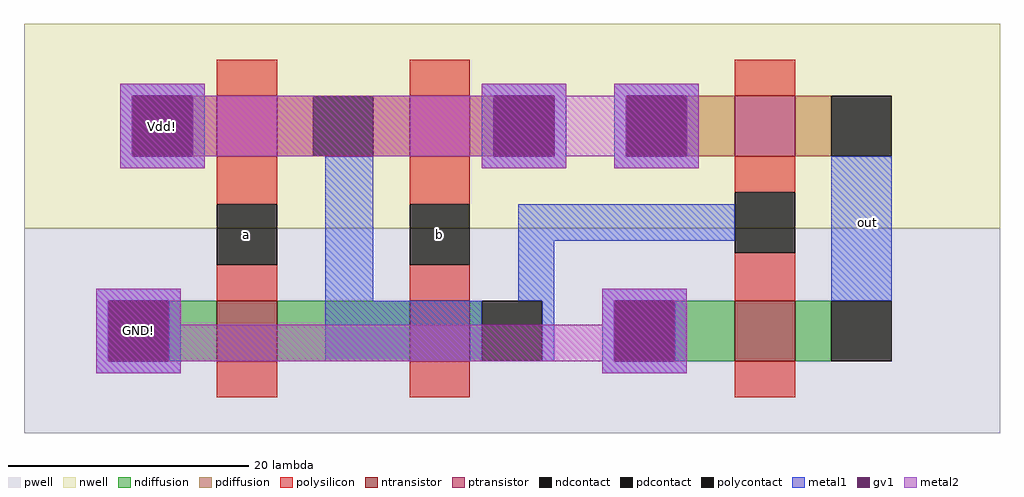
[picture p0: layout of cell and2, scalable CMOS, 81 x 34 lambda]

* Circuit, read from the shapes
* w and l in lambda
.subckt and2 GND! Vdd! a b out
M1 n1 a GND! VSUBS nfet w=5 l=5
M2 n2 b n1 VSUBS nfet w=5 l=5
M3 out n2 GND! VSUBS nfet w=5 l=5
M4 n2 a Vdd! n3 pfet w=5 l=5
M5 Vdd! b n2 n3 pfet w=5 l=5
M6 out n2 Vdd! n3 pfet w=5 l=5
.ends

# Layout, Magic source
magic
tech scmos
<< nwell >>
rect -21 -2 60 15
<< pwell >>
rect -21 -19 60 -2
<< ntransistor >>
rect -5 -13 0 -8
rect 11 -13 16 -8
rect 38 -13 43 -8
<< ptransistor >>
rect -5 4 0 9
rect 11 4 16 9
rect 38 4 43 9
<< ndiffusion >>
rect -9 -13 -5 -8
rect 0 -13 11 -8
rect 16 -13 17 -8
rect 33 -13 38 -8
rect 43 -13 46 -8
<< pdiffusion >>
rect -7 4 -5 9
rect 0 4 3 9
rect 8 4 11 9
rect 16 4 18 9
rect 34 4 38 9
rect 43 4 46 9
<< ndcontact >>
rect -14 -13 -9 -8
rect 17 -13 22 -8
rect 28 -13 33 -8
rect 46 -13 51 -8
<< pdcontact >>
rect -12 4 -7 9
rect 3 4 8 9
rect 18 4 23 9
rect 29 4 34 9
rect 46 4 51 9
<< polysilicon >>
rect -5 9 0 12
rect 11 9 16 12
rect 38 9 43 12
rect -5 0 0 4
rect -5 -8 0 -5
rect 11 0 16 4
rect 11 -8 16 -5
rect 38 1 43 4
rect 38 -8 43 -4
rect -5 -16 0 -13
rect 11 -16 16 -13
rect 38 -16 43 -13
<< polycontact >>
rect -5 -5 0 0
rect 11 -5 16 0
rect 38 -4 43 1
<< metal1 >>
rect -13 9 -6 10
rect 17 9 24 10
rect -13 4 -12 9
rect -7 4 -6 9
rect -13 3 -6 4
rect -15 -8 -8 -7
rect -15 -13 -14 -8
rect -9 -13 -8 -8
rect 4 -8 8 4
rect 17 4 18 9
rect 23 4 24 9
rect 17 3 24 4
rect 28 9 35 10
rect 28 4 29 9
rect 34 4 35 9
rect 28 3 35 4
rect 20 -3 38 0
rect 20 -8 23 -3
rect 4 -13 17 -8
rect 22 -13 23 -8
rect 27 -8 34 -7
rect 27 -13 28 -8
rect 33 -13 34 -8
rect 46 -8 51 4
rect -15 -14 -8 -13
rect 27 -14 34 -13
<< metal2 >>
rect -13 9 -6 10
rect 17 9 24 10
rect 28 9 35 10
rect -13 4 35 9
rect -13 3 -6 4
rect 17 3 24 4
rect 28 3 35 4
rect -15 -10 -8 -7
rect 27 -10 34 -7
rect -15 -13 34 -10
rect -15 -14 -8 -13
rect 27 -14 34 -13
<< gv1 >>
rect -12 4 -7 9
rect 18 4 23 9
rect 29 4 34 9
rect -14 -13 -9 -8
rect 28 -13 33 -8
<< labels >>
rlabel pdcontact -10 6 -9 7 1 Vdd!
rlabel polycontact -3 -3 -2 -2 1 a
rlabel polycontact 13 -3 14 -2 1 b
rlabel ndcontact -12 -11 -11 -10 1 GND!
rlabel metal1 48 -2 50 -1 1 out
<< end >>
